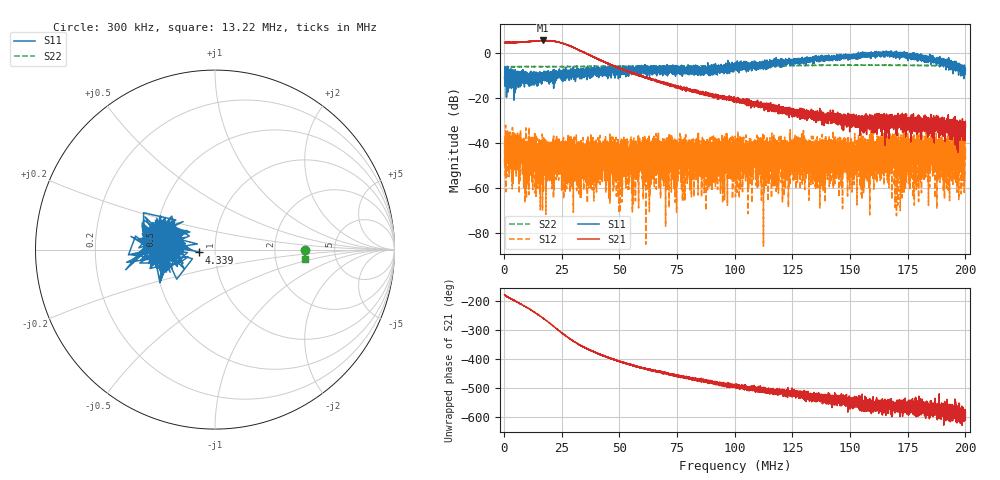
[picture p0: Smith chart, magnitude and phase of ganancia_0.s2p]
# Hz S DB R 50
! CMT, M5065, 19127446, 24.2.4/2
! Date: 10/29/2024 1:01:03 PM
! Data: Format (Calibration Info)
! Freq	S11:dB/Ang(F2)	S21:dB/Ang(F2)	S12:dB/Ang(F2)	S22:dB/Ang(F2)
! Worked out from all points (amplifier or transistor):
!   9000 points, 300 kHz to 200 MHz, reference 50 ohm
!   highest |S21| = 5.7 dB at 16.88 MHz (marker M1)
!   |S21| within 3 dB of that: start of sweep to 29.79 MHz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
!   unconditionally stable (mu >= 1): start of sweep to 153.6 MHz; 174.9 MHz to 176.9 MHz; 177.8 MHz to end of sweep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
!   at 33.59 MHz: K = 113.09, MAG = 2.9 dB, |S12| = -51.9 dB
!   at 100.2 MHz: K = 1407.90, MAG = -17.9 dB, |S12| = -53.5 dB
!   at 200 MHz: K = 1503.44, MAG = -29.5 dB, |S12| = -42.3 dB
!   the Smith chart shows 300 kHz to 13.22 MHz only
!   S11 on the Smith chart (normalised r, x): 300 kHz: 0.56, -0.04; 4.339 MHz: 0.84, -0.03; 13.22 MHz: 0.53, +0.12
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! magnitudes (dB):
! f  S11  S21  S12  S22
! 300 kHz  -10.9  4.7  -39.2  -6.0
! 4.339 MHz  -21.0  4.7  -40.3  -6.0
! 13.22 MHz  -10.1  5.4  -37.4  -5.9
! 15.75 MHz  -9.9  5.6  -43.5  -6.0
! 16.88 MHz  -10.3  5.7  -45.3  -6.0
! 33.59 MHz  -8.4  0.9  -51.9  -5.9
! 47.19 MHz  -7.1  -5.5  -44.5  -5.8
! 50.41 MHz  -6.2  -6.8  -70.9  -5.8
! 52.54 MHz  -7.8  -7.7  -43.8  -5.8
! 56.09 MHz  -7.4  -8.9  -52.7  -5.8
! 66.87 MHz  -8.4  -12.4  -40.0  -5.8
! 74.02 MHz  -6.4  -14.9  -61.7  -5.7
! 76.28 MHz  -8.6  -14.9  -41.5  -5.7
! 87.49 MHz  -7.5  -17.7  -44.2  -5.7
! 89.58 MHz  -7.0  -18.6  -42.1  -5.7
! 100.2 MHz  -6.9  -20.2  -53.5  -5.7
! 133.4 MHz  -3.8  -26.9  -41.8  -5.4
! 166.7 MHz  -0.6  -32.3  -43.3  -5.4
! 190.9 MHz  -3.6  -31.1  -62.6  -5.5
! 194.3 MHz  -6.8  -32.0  -43.7  -5.5
! 196.2 MHz  -5.3  -43.0  -39.0  -5.5
! 200 MHz  -7.5  -31.8  -42.3  -5.5
